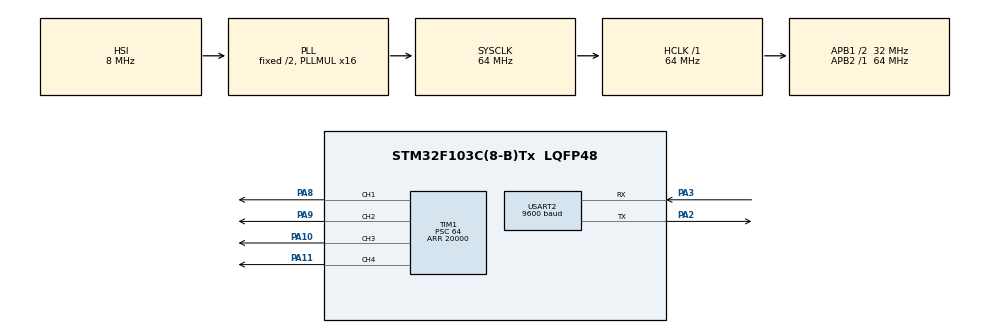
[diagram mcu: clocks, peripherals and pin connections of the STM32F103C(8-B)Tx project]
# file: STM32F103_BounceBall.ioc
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Dma.Request0=USART2_RX
Dma.USART2_RX.0.Direction=DMA_PERIPH_TO_MEMORY
Dma.USART2_RX.0.Instance=DMA1_Channel6
Dma.USART2_RX.0.MemDataAlignment=DMA_MDATAALIGN_BYTE
Dma.USART2_RX.0.MemInc=DMA_MINC_ENABLE
Dma.USART2_RX.0.Mode=DMA_CIRCULAR
Dma.USART2_RX.0.PeriphDataAlignment=DMA_PDATAALIGN_BYTE
Dma.USART2_RX.0.PeriphInc=DMA_PINC_DISABLE
Dma.USART2_RX.0.Priority=DMA_PRIORITY_LOW
Mcu.Family=STM32F1
Mcu.Name=STM32F103C(8-B)Tx
Mcu.Package=LQFP48
NVIC.DMA1_Channel6_IRQn=true\:0\:0\:false\:false\:true\:false\:true
NVIC.PriorityGroup=NVIC_PRIORITYGROUP_4
NVIC.USART2_IRQn=true\:0\:0\:false\:false\:true\:true\:true
PA10.Signal=S_TIM1_CH3
PA11.Signal=S_TIM1_CH4
PA2.Mode=Asynchronous
PA2.Signal=USART2_TX
PA3.Mode=Asynchronous
PA3.Signal=USART2_RX
PA8.Signal=S_TIM1_CH1
PA9.Signal=S_TIM1_CH2
ProjectManager.HeapSize=0x200
ProjectManager.StackSize=0x400
ProjectManager.TargetToolchain=STM32CubeIDE
RCC.AHBFreq_Value=64000000
RCC.APB1CLKDivider=RCC_HCLK_DIV2
RCC.APB1Freq_Value=32000000
RCC.APB1TimFreq_Value=64000000
RCC.APB2Freq_Value=64000000
RCC.APB2TimFreq_Value=64000000
RCC.HCLKFreq_Value=64000000
RCC.PLLMUL=RCC_PLL_MUL16
RCC.SYSCLKFreq_VALUE=64000000
RCC.SYSCLKSource=RCC_SYSCLKSOURCE_PLLCLK
RCC.USBFreq_Value=64000000
SH.S_TIM1_CH1.0=TIM1_CH1,PWM Generation1 CH1
SH.S_TIM1_CH2.0=TIM1_CH2,PWM Generation2 CH2
SH.S_TIM1_CH3.0=TIM1_CH3,PWM Generation3 CH3
SH.S_TIM1_CH4.0=TIM1_CH4,PWM Generation4 CH4
TIM1.Channel-PWM\ Generation1\ CH1=TIM_CHANNEL_1
TIM1.Channel-PWM\ Generation2\ CH2=TIM_CHANNEL_2
TIM1.Channel-PWM\ Generation3\ CH3=TIM_CHANNEL_3
TIM1.Channel-PWM\ Generation4\ CH4=TIM_CHANNEL_4
TIM1.OCFastMode_PWM-PWM\ Generation1\ CH1=TIM_OCFAST_ENABLE
TIM1.OCFastMode_PWM-PWM\ Generation2\ CH2=TIM_OCFAST_ENABLE
TIM1.OCFastMode_PWM-PWM\ Generation3\ CH3=TIM_OCFAST_ENABLE
TIM1.OCFastMode_PWM-PWM\ Generation4\ CH4=TIM_OCFAST_ENABLE
TIM1.Period=20000
TIM1.Prescaler=64
USART2.BaudRate=9600
USART2.VirtualMode=VM_ASYNC
VP_SYS_VS_ND.Mode=No_Debug
VP_TIM1_VS_ClockSourceINT.Mode=Internal
board=custom

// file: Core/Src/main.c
/* USER CODE BEGIN Header */
/**
  ******************************************************************************
  * @file           : main.c
  * @brief          : Main program body
  ******************************************************************************
  * @attention
  *
  * <h2><center>&copy; Copyright (c) 2020 STMicroelectronics.
  * All rights reserved.</center></h2>
  *
  * This software component is licensed by ST under BSD 3-Clause license,
  * the "License"; You may not use this file except in compliance with the
  * License. You may obtain a copy of the License at:
  *                        opensource.org/licenses/BSD-3-Clause
  *
  ******************************************************************************
  */
/* USER CODE END Header */

#include "main.h"

TIM_HandleTypeDef htim1;

UART_HandleTypeDef huart2;
DMA_HandleTypeDef hdma_usart2_rx;

/* USER CODE BEGIN PV */
const float usPerDegree =11.11111;
const int usPerTick = 1;
const int initTime = 500;
int posX, posY;
int setDeg, setDegreeV;
int setPosX, setPosY;
int bounce;
int updated;

const int MOTOR1 =1;
const int MOTOR2 =2;
const int MOTOR3 =4;
const int MOTOR4 = 8;
uint8_t rxData[5];

/* USER CODE END PV */

void SystemClock_Config(void);
static void MX_GPIO_Init(void);
static void MX_DMA_Init(void);
static void MX_TIM1_Init(void);
static void MX_USART2_UART_Init(void);

/* USER CODE BEGIN 0 */
void setDegree(int motor,int degree){

	if(0 <= degree && degree <= 180 ){

		degree = (initTime + degree * usPerDegree)/usPerTick;

		if(motor & MOTOR1){
			htim1.Instance->CCR1 =degree;
		}
		if(motor & MOTOR2 ){
			htim1.Instance->CCR2 =degree;
		}
		if(motor & MOTOR3){
			htim1.Instance->CCR3 =degree;
		}
		if(motor & MOTOR4){
			htim1.Instance->CCR4 =degree;
		}

	}
}

void HAL_UART_RxCpltCallback(UART_HandleTypeDef *huart){
//   Prevent unused argument(s) compilation warning
  UNUSED(huart);
 /*  NOTE: This function should not be modified, when the callback is needed,
           the HAL_UART_RxCpltCallback could be implemented in the user file
*/

  if(rxData[0] == 10){ // set motor degree
	  setDegreeV = (rxData[2] << 8) | rxData[1];
	  setDeg =1;
	  updated = 1;
  }
  else if(rxData[0] == 50){ // current Position
	  posX = (rxData[2] << 8)  | rxData[1];
	  posY = (rxData[4] << 8) | rxData[3];
	  updated = 1;
  }else if(rxData[0] == 100){ // set Position
	  setPosX = (rxData[2] << 8)  | rxData[1];
	  setPosY = (rxData[4] << 8) | rxData[3];
	  updated = 1;
  }else if(rxData[0] == 150){ // bounce
	  bounce =1;
	  updated =1;
  }

}

/* USER CODE END 0 */

int main(void)
{

  /* MCU Configuration--------------------------------------------------------*/

  /* Reset of all peripherals, Initializes the Flash interface and the Systick. */
  HAL_Init();

  /* Configure the system clock */
  SystemClock_Config();

  /* Initialize all configured peripherals */
  MX_GPIO_Init();
  MX_DMA_Init();
  MX_TIM1_Init();
  MX_USART2_UART_Init();
  /* USER CODE BEGIN 2 */
  HAL_TIM_PWM_Start(&htim1, TIM_CHANNEL_1);
    HAL_TIM_PWM_Start(&htim1, TIM_CHANNEL_2);
    HAL_TIM_PWM_Start(&htim1, TIM_CHANNEL_3);
    HAL_TIM_PWM_Start(&htim1, TIM_CHANNEL_4);

    HAL_UART_Receive_DMA(&huart2, rxData, 5);

  /* USER CODE END 2 */

  /* Infinite loop */
  /* USER CODE BEGIN WHILE */
    posX = 0;
     posY = 0;
     setPosX =320;
     setPosY = 240;
     bounce =0;
     updated =0;

     int errorX, errorY;
     int prevX =0, prevY=0;
     int area =30;
     int pwmX, pwmY;

     int derivativeX, derivativeY;
     int integralX=0, integralY=0;

     // X Y  proportional
     float KpX = 0.06;
     float KpY = 0.06;

     // X Y derivative
     float KdX = 0.8;
     float KdY = 0.8;

     // X Y integral
     float KiX = 0.001;
     float KiY = 0.001;

     setDegree(MOTOR1 | MOTOR2 | MOTOR3 | MOTOR4, 5);
  while (1)
  {
    /* USER CODE END WHILE */

    /* USER CODE BEGIN 3 */
	  if(updated){

	 	 			  if(setDeg){
	 	 				  setDegree(MOTOR1 | MOTOR2 | MOTOR3 | MOTOR4, setDegreeV);
	 	 				  setDeg =0;

	 	 				  prevX = 0;
	 	 				  prevY = 0;
	 	 				  integralX = 0;
	 	 				  integralY = 0;
	 	 			  }

	 	 			  else if(bounce){

	 	 				  for(int i=0;i<5;++i){
	 	 					  setDegree(MOTOR1 | MOTOR2 | MOTOR3 | MOTOR4,5);

	 	 					  HAL_Delay(200);

	 	 					  setDegree(MOTOR1 | MOTOR2 | MOTOR3 | MOTOR4,20);

	 	 					  HAL_Delay(200);
	 	 				  }

	 	 				  setDegree(MOTOR1 | MOTOR2 | MOTOR3 | MOTOR4,5);

	 	 				  bounce =0;

	 	 			  }
	 	 			  else{

	 	 				  errorX = setPosX - posX;
	 	 				  errorY = setPosY - posY;

	 	 				  derivativeX = errorX - prevX;
	 	 				  derivativeY = errorY - prevY;

	 	 				  integralX += errorX;
	 	 				  integralY += errorY;

	 	 				  pwmX = KpX * errorX + KdX * derivativeX + KiX * integralX;
	 	 				  pwmY = KpY * errorY + KdY * derivativeY + KiY * integralY;

	 	 				  if(50 < pwmX)
	 	 					  pwmX = 50;
	 	 				  else if(pwmX < -50)
	 	 					  pwmX = -50;

	 	 				  if(50 < pwmY)
	 	 					  pwmY = 50;
	 	 				  else if(pwmY < -50)
	 	 					  pwmY = -50;

	 	 				  if(errorX < -area || area < errorX){

	 	 					  if(0 < pwmX ){
	 	 						  setDegree(MOTOR1, 5+pwmX);
	 	 						  setDegree(MOTOR4, 5);
	 	 					  }else{
	 	 						  setDegree(MOTOR4, 5-pwmX);
	 	 						  setDegree(MOTOR1, 5);
	 	 					  }
	 	 				  }else{
	 	 					  setDegree(MOTOR1 | MOTOR4, 5);
	 	 					  integralX =0;
	 	 				  }

	 	 				  if(errorY < -area || area < errorY){
	 	 					  if(0 < pwmY ){
	 	 						  setDegree(MOTOR3, 5+pwmY);
	 	 						  setDegree(MOTOR2, 5);
	 	 					  }else{
	 	 						  setDegree(MOTOR2, 5-pwmY);
	 	 						  setDegree(MOTOR3, 5);
	 	 					  }
	 	 				  }
	 	 				  else{
	 	 					  setDegree(MOTOR2 | MOTOR3, 5);
	 	 					  integralY = 0;
	 	 				  }

	 	 				  prevX = errorX;
	 	 				  prevY = errorY;
	 	 			  }

	 	 			  updated =0;

	 	 		  }

  }
  /* USER CODE END 3 */
}

void SystemClock_Config(void)
{
  RCC_OscInitTypeDef RCC_OscInitStruct = {0};
  RCC_ClkInitTypeDef RCC_ClkInitStruct = {0};

  /** Initializes the CPU, AHB and APB busses clocks
  */
  RCC_OscInitStruct.OscillatorType = RCC_OSCILLATORTYPE_HSI;
  RCC_OscInitStruct.HSIState = RCC_HSI_ON;
  RCC_OscInitStruct.HSICalibrationValue = RCC_HSICALIBRATION_DEFAULT;
  RCC_OscInitStruct.PLL.PLLState = RCC_PLL_ON;
  RCC_OscInitStruct.PLL.PLLSource = RCC_PLLSOURCE_HSI_DIV2;
  RCC_OscInitStruct.PLL.PLLMUL = RCC_PLL_MUL16;
  if (HAL_RCC_OscConfig(&RCC_OscInitStruct) != HAL_OK)
  {
    Error_Handler();
  }
  /** Initializes the CPU, AHB and APB busses clocks
  */
  RCC_ClkInitStruct.ClockType = RCC_CLOCKTYPE_HCLK|RCC_CLOCKTYPE_SYSCLK
                              |RCC_CLOCKTYPE_PCLK1|RCC_CLOCKTYPE_PCLK2;
  RCC_ClkInitStruct.SYSCLKSource = RCC_SYSCLKSOURCE_PLLCLK;
  RCC_ClkInitStruct.AHBCLKDivider = RCC_SYSCLK_DIV1;
  RCC_ClkInitStruct.APB1CLKDivider = RCC_HCLK_DIV2;
  RCC_ClkInitStruct.APB2CLKDivider = RCC_HCLK_DIV1;

  if (HAL_RCC_ClockConfig(&RCC_ClkInitStruct, FLASH_LATENCY_2) != HAL_OK)
  {
    Error_Handler();
  }
}

static void MX_TIM1_Init(void)
{

  TIM_ClockConfigTypeDef sClockSourceConfig = {0};
  TIM_MasterConfigTypeDef sMasterConfig = {0};
  TIM_OC_InitTypeDef sConfigOC = {0};
  TIM_BreakDeadTimeConfigTypeDef sBreakDeadTimeConfig = {0};

  htim1.Instance = TIM1;
  htim1.Init.Prescaler = 64;
  htim1.Init.CounterMode = TIM_COUNTERMODE_UP;
  htim1.Init.Period = 20000;
  htim1.Init.ClockDivision = TIM_CLOCKDIVISION_DIV1;
  htim1.Init.RepetitionCounter = 0;
  htim1.Init.AutoReloadPreload = TIM_AUTORELOAD_PRELOAD_DISABLE;
  if (HAL_TIM_Base_Init(&htim1) != HAL_OK)
  {
    Error_Handler();
  }
  sClockSourceConfig.ClockSource = TIM_CLOCKSOURCE_INTERNAL;
  if (HAL_TIM_ConfigClockSource(&htim1, &sClockSourceConfig) != HAL_OK)
  {
    Error_Handler();
  }
  if (HAL_TIM_PWM_Init(&htim1) != HAL_OK)
  {
    Error_Handler();
  }
  sMasterConfig.MasterOutputTrigger = TIM_TRGO_RESET;
  sMasterConfig.MasterSlaveMode = TIM_MASTERSLAVEMODE_DISABLE;
  if (HAL_TIMEx_MasterConfigSynchronization(&htim1, &sMasterConfig) != HAL_OK)
  {
    Error_Handler();
  }
  sConfigOC.OCMode = TIM_OCMODE_PWM1;
  sConfigOC.Pulse = 0;
  sConfigOC.OCPolarity = TIM_OCPOLARITY_HIGH;
  sConfigOC.OCNPolarity = TIM_OCNPOLARITY_HIGH;
  sConfigOC.OCFastMode = TIM_OCFAST_ENABLE;
  sConfigOC.OCIdleState = TIM_OCIDLESTATE_RESET;
  sConfigOC.OCNIdleState = TIM_OCNIDLESTATE_RESET;
  if (HAL_TIM_PWM_ConfigChannel(&htim1, &sConfigOC, TIM_CHANNEL_1) != HAL_OK)
  {
    Error_Handler();
  }
  if (HAL_TIM_PWM_ConfigChannel(&htim1, &sConfigOC, TIM_CHANNEL_2) != HAL_OK)
  {
    Error_Handler();
  }
  if (HAL_TIM_PWM_ConfigChannel(&htim1, &sConfigOC, TIM_CHANNEL_3) != HAL_OK)
  {
    Error_Handler();
  }
  if (HAL_TIM_PWM_ConfigChannel(&htim1, &sConfigOC, TIM_CHANNEL_4) != HAL_OK)
  {
    Error_Handler();
  }
  sBreakDeadTimeConfig.OffStateRunMode = TIM_OSSR_DISABLE;
  sBreakDeadTimeConfig.OffStateIDLEMode = TIM_OSSI_DISABLE;
  sBreakDeadTimeConfig.LockLevel = TIM_LOCKLEVEL_OFF;
  sBreakDeadTimeConfig.DeadTime = 0;
  sBreakDeadTimeConfig.BreakState = TIM_BREAK_DISABLE;
  sBreakDeadTimeConfig.BreakPolarity = TIM_BREAKPOLARITY_HIGH;
  sBreakDeadTimeConfig.AutomaticOutput = TIM_AUTOMATICOUTPUT_DISABLE;
  if (HAL_TIMEx_ConfigBreakDeadTime(&htim1, &sBreakDeadTimeConfig) != HAL_OK)
  {
    Error_Handler();
  }
  HAL_TIM_MspPostInit(&htim1);

}

static void MX_USART2_UART_Init(void)
{

  huart2.Instance = USART2;
  huart2.Init.BaudRate = 9600;
  huart2.Init.WordLength = UART_WORDLENGTH_8B;
  huart2.Init.StopBits = UART_STOPBITS_1;
  huart2.Init.Parity = UART_PARITY_NONE;
  huart2.Init.Mode = UART_MODE_TX_RX;
  huart2.Init.HwFlowCtl = UART_HWCONTROL_NONE;
  huart2.Init.OverSampling = UART_OVERSAMPLING_16;
  if (HAL_UART_Init(&huart2) != HAL_OK)
  {
    Error_Handler();
  }

}

static void MX_DMA_Init(void)
{

  /* DMA controller clock enable */
  __HAL_RCC_DMA1_CLK_ENABLE();

  /* DMA interrupt init */
  /* DMA1_Channel6_IRQn interrupt configuration */
  HAL_NVIC_SetPriority(DMA1_Channel6_IRQn, 0, 0);
  HAL_NVIC_EnableIRQ(DMA1_Channel6_IRQn);

}

static void MX_GPIO_Init(void)
{

  /* GPIO Ports Clock Enable */
  __HAL_RCC_GPIOA_CLK_ENABLE();

}

void Error_Handler(void)
{
}

/************************ (C) COPYRIGHT STMicroelectronics *****END OF FILE****/
